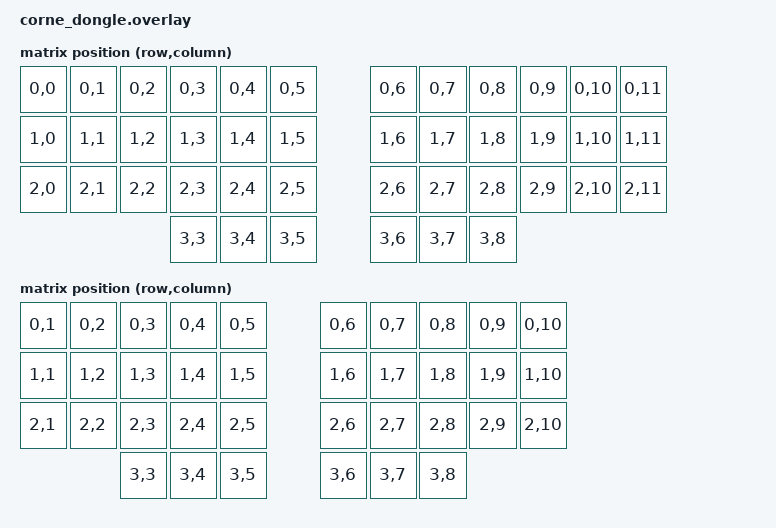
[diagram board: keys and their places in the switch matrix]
/*
 * Dongle del Corne: un nRF52840 (clon de nice!nano) enchufado por USB de forma
 * permanente. No tiene teclas ni sensores propios; su unico trabajo es ser la
 * central del split y hablar HID con el ordenador.
 *
 * 1. kscan mock (0 filas, 0 columnas). ZMK exige un kscan elegido, pero aqui no
 *    hay matriz que escanear: las pulsaciones llegan por BLE desde las mitades.
 *
 * 2. Los physical layouts del Corne, IDENTICOS a los de las mitades. Esto es
 *    critico y es donde fallo la primera version: declaraba solo el layout de 6
 *    columnas, mientras que las mitades (via corne.dtsi) declaran los dos, el
 *    de 5 y el de 6, en ese orden. Resultado: el dongle interpretaba las
 *    posiciones que le mandaban las mitades corridas un lugar, y salia ESC
 *    donde tocaba Q.
 *
 *    Por eso esto es copia literal de la parte de layouts y transformaciones de
 *    app/boards/shields/corne/corne.dtsi, quitando solo el kscan de matriz y el
 *    OLED, que aqui no aplican. Si cambia alli, hay que sincronizarlo.
 *
 *    Nota: el teclado es fisicamente de 5 columnas, pero el keymap declara 6 y
 *    el layout elegido es el de 6 (igual que en las mitades). La columna
 *    exterior simplemente no esta cableada, y por eso ESC/TAB/BSPC se generan
 *    con combos. No hay que "arreglar" eso: es como siempre ha funcionado.
 */

#include <dt-bindings/zmk/matrix_transform.h>

#include <layouts/foostan/corne/5column.dtsi>
#include <layouts/foostan/corne/6column.dtsi>

&foostan_corne_6col_layout {
    transform = <&default_transform>;
};

&foostan_corne_5col_layout {
    transform = <&five_column_transform>;
};

/ {
    chosen {
        zmk,kscan = &mock_kscan;
        zmk,physical-layout = &foostan_corne_6col_layout;
    };

    mock_kscan: mock_kscan_0 {
        compatible = "zmk,kscan-mock";
        columns = <0>;
        rows = <0>;
        events = <0>;
    };

    default_transform: keymap_transform_0 {
        compatible = "zmk,matrix-transform";
        columns = <12>;
        rows = <4>;
        map = <
RC(0,0) RC(0,1) RC(0,2) RC(0,3) RC(0,4) RC(0,5)  RC(0,6) RC(0,7) RC(0,8) RC(0,9) RC(0,10) RC(0,11)
RC(1,0) RC(1,1) RC(1,2) RC(1,3) RC(1,4) RC(1,5)  RC(1,6) RC(1,7) RC(1,8) RC(1,9) RC(1,10) RC(1,11)
RC(2,0) RC(2,1) RC(2,2) RC(2,3) RC(2,4) RC(2,5)  RC(2,6) RC(2,7) RC(2,8) RC(2,9) RC(2,10) RC(2,11)
                        RC(3,3) RC(3,4) RC(3,5)  RC(3,6) RC(3,7) RC(3,8)
        >;
    };

    five_column_transform: keymap_transform_1 {
        compatible = "zmk,matrix-transform";
        columns = <10>;
        rows = <4>;
        map = <
RC(0,1) RC(0,2) RC(0,3) RC(0,4) RC(0,5)  RC(0,6) RC(0,7) RC(0,8) RC(0,9) RC(0,10)
RC(1,1) RC(1,2) RC(1,3) RC(1,4) RC(1,5)  RC(1,6) RC(1,7) RC(1,8) RC(1,9) RC(1,10)
RC(2,1) RC(2,2) RC(2,3) RC(2,4) RC(2,5)  RC(2,6) RC(2,7) RC(2,8) RC(2,9) RC(2,10)
                        RC(3,3) RC(3,4) RC(3,5)  RC(3,6) RC(3,7) RC(3,8)
        >;
    };
};
